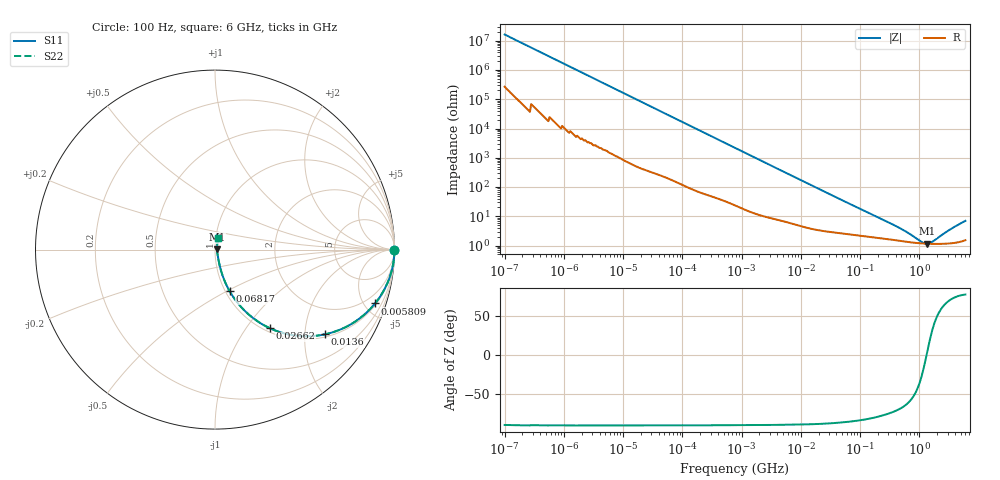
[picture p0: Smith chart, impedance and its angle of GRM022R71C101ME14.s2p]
!Murata Part Number: GRM022R71C101ME14
!These Parameters are Measured in Series Mode Connection
!Data Generated on Mar 30, 2021
!  o--ll--o
!Port1  Port2
!  o------o
!Operation Temp=25[degC], DC Bias Voltage=0[V]
!Freq. Start=100[Hz] Stop=6[GHz] 401[Steps]
# Hz S RI R 50
!Freq.(Hz) S11(Real) S11(Imag) S21(Real) S21(Imag) S12(Real) S12(Imag) S22(Real) S22(Imag)
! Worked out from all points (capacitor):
!   401 points, 100 Hz to 6 GHz, reference 50 ohm
!   read as one part in series: C = 97.7 pF near 109 Hz
!   lowest |Z| = 1.16 ohm at 1.369 GHz (marker M1)
!   series resonance near 1.325 GHz, so ESL is about 150 pH
!   S11 on the Smith chart (normalised r, x): 100 Hz: open; 5.809 MHz: 1.13, -5.90; 13.6 MHz: 1.08, -2.54; 26.62 MHz: 1.06, -1.31; 68.17 MHz: 1.05, -0.52; 6 GHz: 1.03, +0.14
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100  1 -6.1e-06  1e-07 6.1e-06  1e-07 6.1e-06  1 -6.1e-06
1468  1 -8.91e-05  5e-07 8.91e-05  5e-07 8.91e-05  1 -8.91e-05
1679  1 -0.000102  6e-07 0.000102  6e-07 0.000102  1 -0.000102
2008  1 -0.000122  7e-07 0.000122  7e-07 0.000122  1 -0.000122
40335  1 -0.00242  2.11e-05 0.00242  2.11e-05 0.00242  1 -0.00242
774597  0.9974 -0.0457  0.00259 0.0457  0.00259 0.0457  0.9974 -0.0457
2268635  0.9808 -0.1307  0.0192 0.1307  0.0192 0.1307  0.9808 -0.1307
5809218  0.8918 -0.3002  0.1082 0.3002  0.1082 0.3002  0.8918 -0.3002
8692127  0.7909 -0.3943  0.2091 0.3943  0.2091 0.3943  0.7909 -0.3943
1.360128e7  0.6144 -0.4717  0.3856 0.4717  0.3856 0.4717  0.6144 -0.4717
1.555665e7  0.5516 -0.4811  0.4484 0.4811  0.4484 0.4811  0.5516 -0.4811
2.662322e7  0.3078 -0.439  0.6922 0.439  0.6922 0.439  0.3078 -0.439
4.165952e7  0.166 -0.3413  0.834 0.3413  0.834 0.3413  0.166 -0.3413
6.817316e7  0.0822 -0.2325  0.9178 0.2325  0.9178 0.2325  0.0822 -0.2325
1.395531e8  0.0348 -0.1218  0.9652 0.1218  0.9652 0.1218  0.0348 -0.1218
3.124326e8  0.0191 -0.0555  0.9809 0.0555  0.9809 0.0555  0.0191 -0.0555
5.847788e8  0.0141 -0.0268  0.9859 0.0268  0.9859 0.0268  0.0141 -0.0268
1.094528e9  0.0117 -0.00585  0.9883 0.00585  0.9883 0.00585  0.0117 -0.00585
1.369159e9  0.0114 0.00101  0.9886 -0.00101  0.9886 -0.00101  0.0114 0.00101
1.637704e9  0.0113 0.00658  0.9887 -0.00658  0.9887 -0.00658  0.0113 0.00658
3.352442e9  0.0128 0.0331  0.9872 -0.0331  0.9872 -0.0331  0.0128 0.0331
6e9  0.0194 0.0657  0.9806 -0.0657  0.9806 -0.0657  0.0194 0.0657
